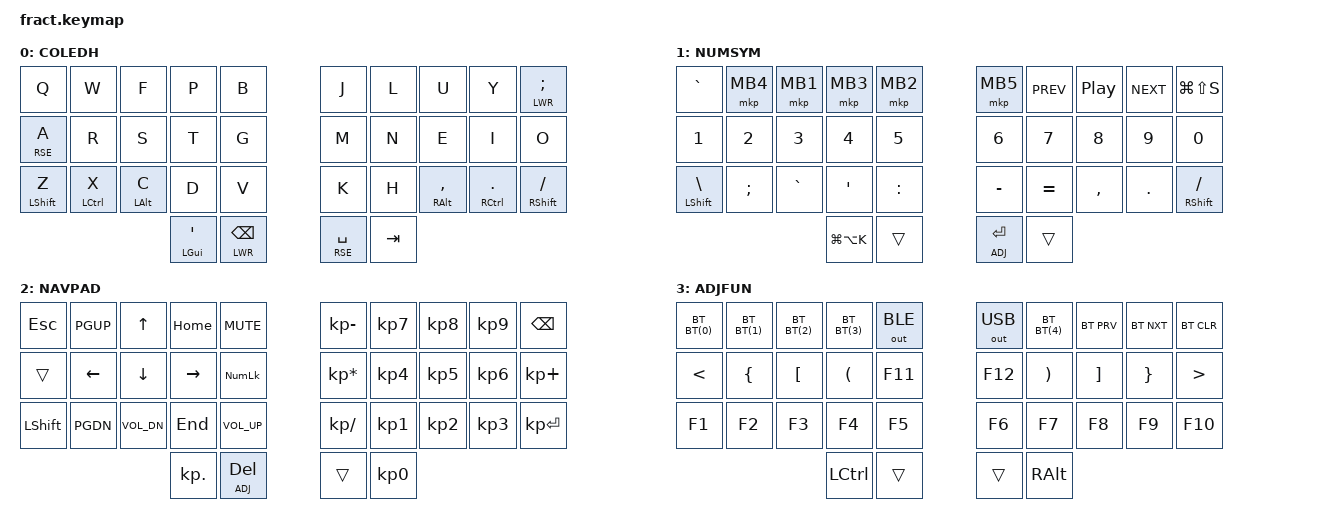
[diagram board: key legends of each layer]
/*
 * Copyright (c) 2024 The ZMK Contributors
 *
 * SPDX-License-Identifier: MIT
 */

#include <behaviors.dtsi>
#include <dt-bindings/zmk/keys.h>
#include <dt-bindings/zmk/bt.h>
#include <dt-bindings/zmk/outputs.h>
#include <dt-bindings/zmk/pointing.h>


#define DEF 0
#define LWR 1
#define RSE 2
#define ADJ 3
#define SPEC 4

#define BT(n) BT_SEL n

// Using layer taps on thumbs, having quick tap as well helps w/ repeating space/backspace
&lt { quick_tap_ms = <200>; };


/ {
    behaviors {
        hm: homerow_mods {
            compatible = "zmk,behavior-hold-tap";
            label = "homerow mods";
            #binding-cells = <2>;
            tapping-term-ms = <175>;
            flavor = "tap-preferred";
            bindings = <&kp>, <&kp>;
        };

        combos {
                compatible = "zmk,combos";
                combo_esc {
                    timeout-ms = <50>;
                    key-positions = <0 1>;
                    bindings = <&kp ESC>;
                };
                combo_bksp {
                    timeout-ms = <50>;
                    key-positions = <8 9>;
                    bindings = <&kp BSPC>;
                };
                combo_del {
                    timeout-ms = <50>;
                    key-positions = <7 8>;
                    bindings = <&kp DEL>;
                };
                combo_tab {
                    timeout-ms = <50>;
                    key-positions = <2 3>;
                    bindings = <&kp TAB>;
                };
                combo_caps {
                    timeout-ms = <50>;
                    key-positions = <11 12 13>;
                    bindings = <&kp CAPS>;
                };
                combo_lmouse {
                    timeout-ms = <50>;
                    key-positions = <13 14>;
                    bindings = <&mkp MB1>;
                };
                combo_mmouse {
                    timeout-ms = <50>;
                    key-positions = <14 15>;
                    bindings = <&mkp MB3>;
                };
                combo_rmouse {
                    timeout-ms = <50>;
                    key-positions = <15 16>;
                    bindings = <&mkp MB2>;
                };
        };
    };

  chosen {
    zmk,matrix_transform = &default_transform;
  };
};

/ {
        keymap {
                compatible = "zmk,keymap";

                default_layer {
                        label = "COLEDH";
// -----------------------------------------------------------------------------------------
// |  Q  |  W  |  F  |  P  |  B  |    |  J  |  L  |  U  |  Y  |LOW-;|
// |RSE-A|  R  |  S  |  T  |  G  |    |  M  |  N  |  E  |  I  |  O  |
// |SFT-Z|CTL-X|ALT-C|  D  |  V  |    |  K  |  H  |ALT-,|CTL-.|SFT-/|
//                   |GUI-'| LOW-BS||RSE-SP | TAB |
                        bindings = <
    &kp Q          &kp W          &kp F          &kp P          &kp B                    &kp J          &kp L          &kp U          &kp Y          &lt LWR SEMI
    &lt RSE A      &kp R          &kp S          &kp T          &kp G                    &kp M          &kp N          &kp E          &kp I          &kp O
    &hm LSHFT Z    &hm LCTRL X    &hm LALT C     &kp D          &kp V                    &kp K          &kp H          &hm RALT COMMA &hm RCTRL DOT  &hm RSHFT FSLH
                                                 &hm LGUI SQT   &lt LWR BSPC             &lt RSE SPACE  &kp TAB
                        >;
                };

                lower_layer {
                        label = "NUMSYM";
// -----------------------------------------------------------------------------------------
// | ` ~ |BACK |LCLK |MCLK |RCLK |    | FWD |PREV |PLAY |NEXT |SNIP |
// |  1  |  2  |  3  |  4  |  5  |    |  6  |  7  |  8  |  9  |  0  |
// |SFT-\| ; : | ` ~ | ' " |  :  |    | - _ | = + | , < | . > |SFT-/|
//                 |micMUTE|       ||ADJ-ENT|     |
                        bindings = <
    &kp GRAVE      &mkp MB4       &mkp MB1       &mkp MB3       &mkp MB2                 &mkp MB5       &kp C_PREV     &kp C_PP       &kp C_NEXT     &kp LG(LS(S))
    &kp N1         &kp N2         &kp N3         &kp N4         &kp N5                   &kp N6         &kp N7         &kp N8         &kp N9         &kp N0
    &hm LSHFT BSLH &kp SEMI       &kp GRAVE      &kp SQT        &kp COLON                &kp MINUS      &kp EQUAL      &kp COMMA      &kp DOT        &hm RSHFT FSLH
                                                 &kp LG(LA(K))  &trans                   &lt ADJ RET    &trans
                        >;
                };

                raise_layer {
                        label = "NAVPAD";
// -----------------------------------------------------------------------------------------
// | ESC | PGUP|  UP | HOME| MUTE|    | KP- | KP7 | KP8 | KP9 | BKSP|
// |     | LEFT| DOWN|RIGHT|NUMLK|    | KP* | KP4 | KP5 | KP6 | KP_+|
// |SHIFT| PGDN|VOLDN| END |VOLUP|    | KP/ | KP1 | KP2 | KP3 |KPENT|
//                   |KPDOT|ADJ-DEL||       | KP0 |
                        bindings = <
   &kp ESC         &kp PGUP       &kp UP         &kp HOME       &kp C_MUTE              &kp KP_MINUS    &kp KP_N7      &kp KP_N8      &kp KP_N9       &kp BSPC
   &trans          &kp LEFT       &kp DOWN       &kp RIGHT      &kp KP_NUM              &kp KP_ASTERISK &kp KP_N4      &kp KP_N5      &kp KP_N6       &kp KP_PLUS
   &kp LSHFT       &kp PGDN       &kp C_VOL_DN   &kp END        &kp C_VOL_UP            &kp KP_DIVIDE   &kp KP_N1      &kp KP_N2      &kp KP_N3       &kp KP_ENTER
                    	                         &kp KP_DOT     &lt ADJ DEL             &trans          &kp KP_N0      
                        >;
                };

                adjust_layer {
                        label = "ADJFUN";
// -----------------------------------------------------------------------------------------
// | BT0 | BT1 | BT2 | BT3 | BLE |    | USB | BT4 |BTPRV|BTNXT|BTCLR|
// |  <  |  {  |  [  |  (  | F11 |    | F12 |  )  |  ]  |  }  |  >  |
// | F1  | F2  | F3  | F4  | F5  |    | F6  | F7  | F8  | F9  | F10 |
//                   | CTRL|       ||       | ALT |
                        bindings = <
    &bt BT(0)      &bt BT(1)      &bt BT(2)      &bt BT(3)      &out OUT_BLE             &out OUT_USB   &bt BT(4)      &bt BT_PRV     &bt BT_NXT     &bt BT_CLR
    &kp LT         &kp LBRC       &kp LBKT       &kp LPAR       &kp F11                  &kp F12        &kp RPAR       &kp RBKT       &kp RBRC       &kp GT
    &kp F1         &kp F2         &kp F3         &kp F4         &kp F5                   &kp F6         &kp F7         &kp F8         &kp F9         &kp F10
                                                 &kp LCTRL      &trans                   &trans         &kp RALT
                        >;
                };
        };
};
